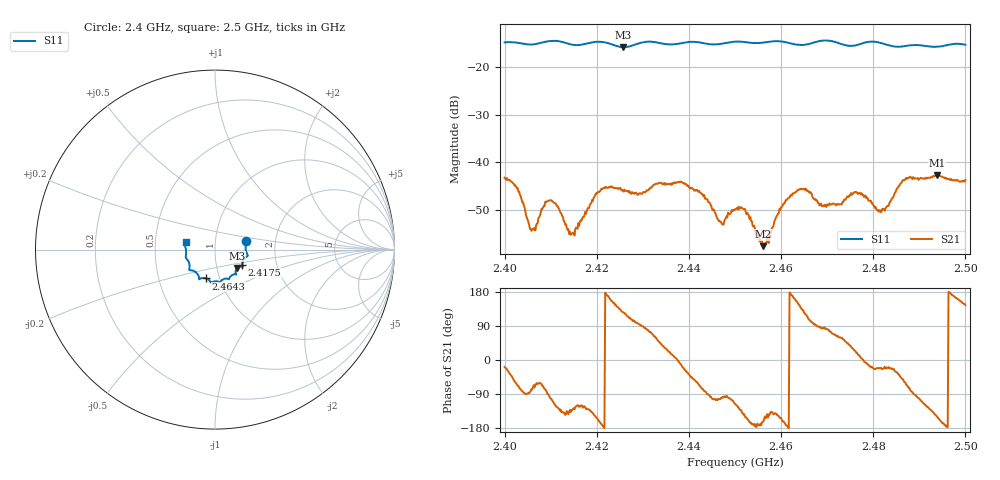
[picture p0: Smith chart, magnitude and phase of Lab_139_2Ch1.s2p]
# Hz S RI R 50
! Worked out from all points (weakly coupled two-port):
!   601 points, 2.4 GHz to 2.5 GHz, reference 50 ohm
!   highest |S21| = -42.62 dB at 2.4938 GHz (marker M1); lowest = -57.5 dB at 2.4562 GHz (marker M2)
!   lowest |S11| = -15.9 dB at 2.4257 GHz (marker M3), VSWR 1.38, Z = 62.5 - j13.1 ohm
!   |S11| at or under -10 dB: start of sweep to end of sweep
!   S12 and S22 are empty: the file has one direction only
!   S11 on the Smith chart (normalised r, x): 2.4 GHz: 1.41, +0.14; 2.4175 GHz: 1.34, -0.23; 2.4643 GHz: 0.86, -0.29; 2.5 GHz: 0.72, +0.06
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2.4e9  0.1731 0.0484  0.00657 -0.00219  0 0  0 0
2.402833e9  0.1745 0.0354  0.00204 -0.00498  0 0  0 0
2.405833e9  0.1705 0.0041  0.000461 -0.00187  0 0  0 0
2.409667e9  0.1823 -0.0317  -0.000263 -0.00397  0 0  0 0
2.414333e9  0.1639 -0.0495  -0.00129 -0.00118  0 0  0 0
2.416667e9  0.1528 -0.074  -0.00121 -0.00213  0 0  0 0
2.4175e9  0.1518 -0.0833  -0.00173 -0.00249  0 0  0 0
2.4215e9  0.1529 -0.096  -0.00536 -0.000248  0 0  0 0
2.425667e9  0.1229 -0.102  -0.003 0.00406  0 0  0 0
2.433333e9  0.1131 -0.1373  0.00387 0.00466  0 0  0 0
2.442167e9  0.0738 -0.1641  0.0021 -0.00458  0 0  0 0
2.447e9  0.0405 -0.1689  -0.00039 -0.00233  0 0  0 0
2.45e9  0.0288 -0.1807  -0.00138 -0.00293  0 0  0 0
2.452333e9  0.0211 -0.1793  -0.0027 -0.00144  0 0  0 0
2.456167e9  -0.00741 -0.1785  -0.00127 -0.000407  0 0  0 0
2.4605e9  -0.0254 -0.1809  -0.00352 -0.00114  0 0  0 0
2.464333e9  -0.0499 -0.1609  -0.00383 0.00355  0 0  0 0
2.466667e9  -0.0758 -0.1593  -0.000786 0.00459  0 0  0 0
2.483333e9  -0.1413 -0.0902  0.00332 -0.00113  0 0  0 0
2.486833e9  -0.1541 -0.0562  0.00342 -0.00564  0 0  0 0
2.493833e9  -0.1615 -0.00435  -0.00639 -0.00373  0 0  0 0
2.5e9  -0.1643 0.0433  -0.00535 0.00374  0 0  0 0
